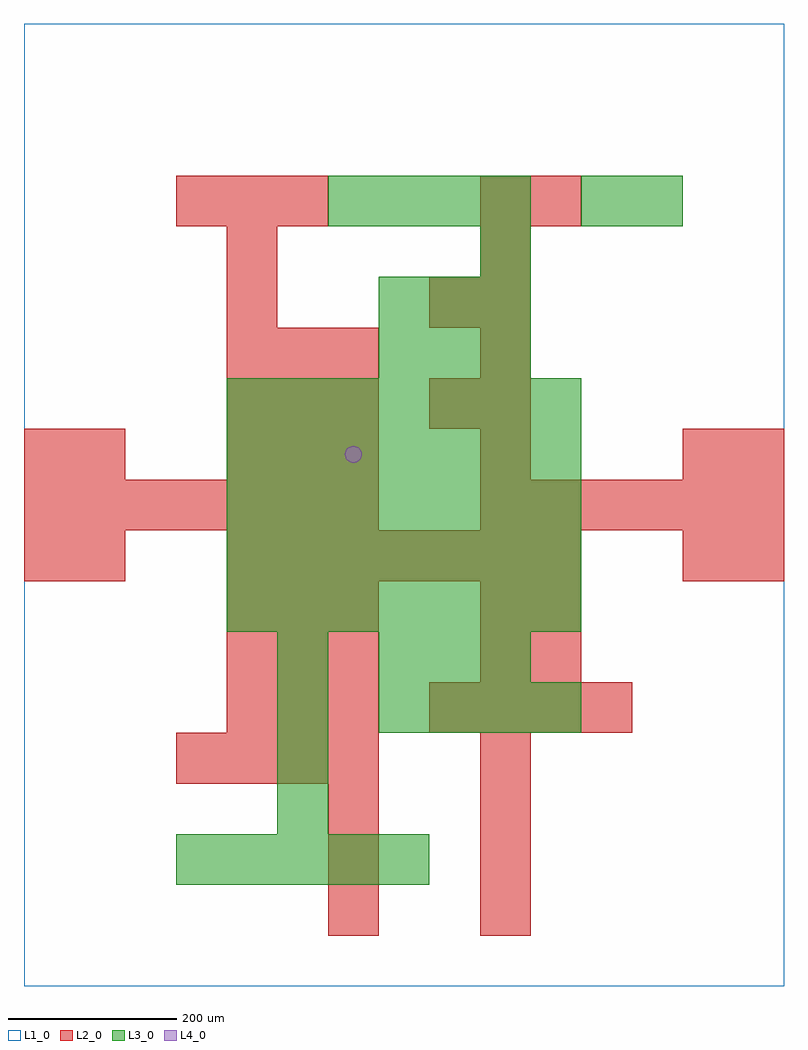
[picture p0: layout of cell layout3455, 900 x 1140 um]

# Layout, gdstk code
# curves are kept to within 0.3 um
import gdstk
lib = gdstk.Library(unit=1e-6, precision=1e-09)
def R(c, l, rs):  # rectangles x0, y0, x1, y1
    for r in rs: c.add(gdstk.rectangle(r[:2], r[2:], *l))
def A(c, l, x, y, w, h, nx, ny, dx, dy):  # array of equal rectangles
    R(c, l, [(x+i*dx, y+j*dy, x+i*dx+w, y+j*dy+h) for i in range(nx) for j in range(ny)])
def P(c, l, *ps):  # polygons
    for p in ps: c.add(gdstk.Polygon(p, *l))
L1_0 = (1, 0)
L2_0 = (2, 0)
L3_0 = (3, 0)
L4_0 = (4, 0)

layout3455 = lib.new_cell('layout3455')
R(layout3455, L1_0, [(0,0,900,1140)])
A(layout3455, L2_0, 360, 60, 60, 60, 1, 3, 0, 60)
A(layout3455, L2_0, 540, 60, 60, 60, 1, 4, 0, 60)
A(layout3455, L2_0, 180, 240, 60, 60, 4, 1, 60, 0)
A(layout3455, L2_0, 240, 300, 60, 60, 3, 3, 60, 60)
A(layout3455, L2_0, 480, 300, 60, 60, 4, 1, 60, 0)
A(layout3455, L2_0, 240, 480, 60, 60, 7, 1, 60, 0)
A(layout3455, L2_0, 0, 540, 60, 60, 7, 1, 60, 0)
A(layout3455, L2_0, 540, 540, 60, 60, 6, 1, 60, 0)
A(layout3455, L2_0, 240, 600, 60, 60, 3, 3, 60, 60)
A(layout3455, L2_0, 540, 600, 60, 60, 1, 6, 0, 60)
A(layout3455, L2_0, 180, 900, 60, 60, 3, 1, 60, 0)
R(layout3455, L2_0, [(540,360,600,420), (600,360,660,420), (540,420,600,480), (600,420,660,480), (0,480,60,540), (60,480,120,540), (780,480,840,540), (840,480,900,540), (0,600,60,660), (60,600,120,660), (780,600,840,660), (840,600,900,660), (480,660,540,720), (240,780,300,840), (480,780,540,840), (240,840,300,900), (600,900,660,960)])
A(layout3455, L3_0, 180, 120, 60, 60, 5, 1, 60, 0)
A(layout3455, L3_0, 300, 180, 60, 60, 1, 4, 0, 60)
A(layout3455, L3_0, 420, 300, 60, 60, 4, 1, 60, 0)
A(layout3455, L3_0, 420, 360, 60, 60, 3, 2, 60, 360)
A(layout3455, L3_0, 240, 420, 60, 60, 7, 5, 60, 60)
A(layout3455, L3_0, 420, 780, 60, 60, 3, 1, 60, 0)
A(layout3455, L3_0, 360, 900, 60, 60, 4, 1, 60, 0)
R(layout3455, L3_0, [(540,840,600,900), (660,900,720,960), (720,900,780,960)])
P(layout3455, L4_0, [(400,630),(399.239,633.827),(397.071,637.071),(393.827,639.239),(390,640),(386.173,639.239),(382.929,637.071),(380.761,633.827),(380,630),(380.761,626.173),(382.929,622.929),(386.173,620.761),(390,620),(393.827,620.761),(397.071,622.929),(399.239,626.173)])

lib.write_gds('layout3455.gds')
